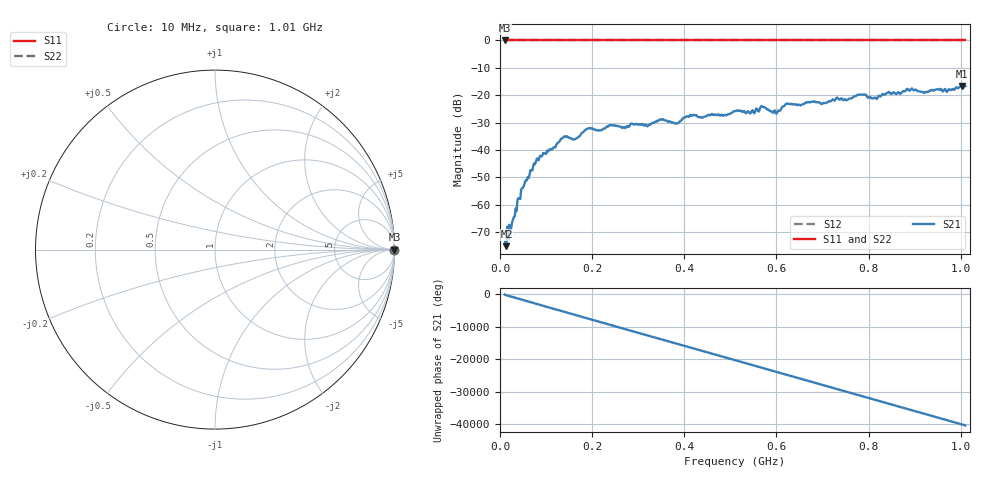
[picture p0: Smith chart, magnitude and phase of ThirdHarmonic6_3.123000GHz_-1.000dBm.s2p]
! 8/17/2025 9:16:33 AM
! C:\ANRITSUVNA\TEMP\TEMP.S2P
! CHANNEL.1
! TR.MEASUREMENT
! RAW.DATA
! RF.CORRECTION.OFF
! AVERAGING.OFF
! IF.BANDWIDTH: 5KHZ
! SWEEPTYPE:  FREQ.SWEEP(Linear)
! Reference Plane Port Info
! PORT:  PORT1  PORT2
! DISTANCE:  0  m  0  m
! TIME:  0  s  0  s
! PHASE.OFFSET:  0  deg.  0  deg.
! LOSS:  0  dB  0  dB
! REF.LOSS:  0  dB  0  dB
! REF.FREQ:  0  Hz  0  Hz
! Power Info
! POWER:  -20  dBm  -20  dBm
! EFF.POWER:  -20  dBm  -20  dBm
! SOURCE.ATTEN:  0  dB  0  dB
! TEST.ATTEN:  0  dB  0  dB
# GHZ S RI R 50.0
! FREQ.GHZ  S11RE  S11IM  S21RE  S21IM  S12RE  S12IM  S22RE  S22IM
!; PortSelection: Port_12
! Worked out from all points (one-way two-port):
!   501 points, 10 MHz to 1.01 GHz, reference 50 ohm
!   highest |S21| = -16.60 dB at 1.002 GHz (marker M1); lowest = -75.2 dB at 14 MHz (marker M2)
!   lowest |S11| = 0.0 dB at 10 MHz (marker M3)
!   |S11| at or under -10 dB: nowhere
!   |S22| runs from 0.0 to 0.0 dB; largest |S21 - S12| = 1.1
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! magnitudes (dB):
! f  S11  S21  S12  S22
! 10 MHz  0.0  -74.5  0.0  0.0
! 14 MHz  0.0  -75.2  0.0  0.0
! 50 MHz  0.0  -53.8  0.0  0.0
! 78 MHz  0.0  -44.3  0.0  0.0
! 136 MHz  0.0  -35.7  0.0  0.0
! 162 MHz  0.0  -36.1  0.0  0.0
! 178 MHz  0.0  -33.8  0.0  0.0
! 192 MHz  0.0  -32.1  0.0  0.0
! 344 MHz  0.0  -29.4  0.0  0.0
! 382 MHz  0.0  -30.3  0.0  0.0
! 416 MHz  0.0  -27.5  0.0  0.0
! 510 MHz  0.0  -25.8  0.0  0.0
! 548 MHz  0.0  -25.5  0.0  0.0
! 570 MHz  0.0  -24.3  0.0  0.0
! 596 MHz  0.0  -25.5  0.0  0.0
! 622 MHz  0.0  -23.1  0.0  0.0
! 678 MHz  0.0  -22.4  0.0  0.0
! 782 MHz  0.0  -19.8  0.0  0.0
! 814 MHz  0.0  -20.9  0.0  0.0
! 844 MHz  0.0  -18.8  0.0  0.0
! 1.002 GHz  0.0  -16.6  0.0  0.0
! 1.01 GHz  0.0  -16.7  0.0  0.0
